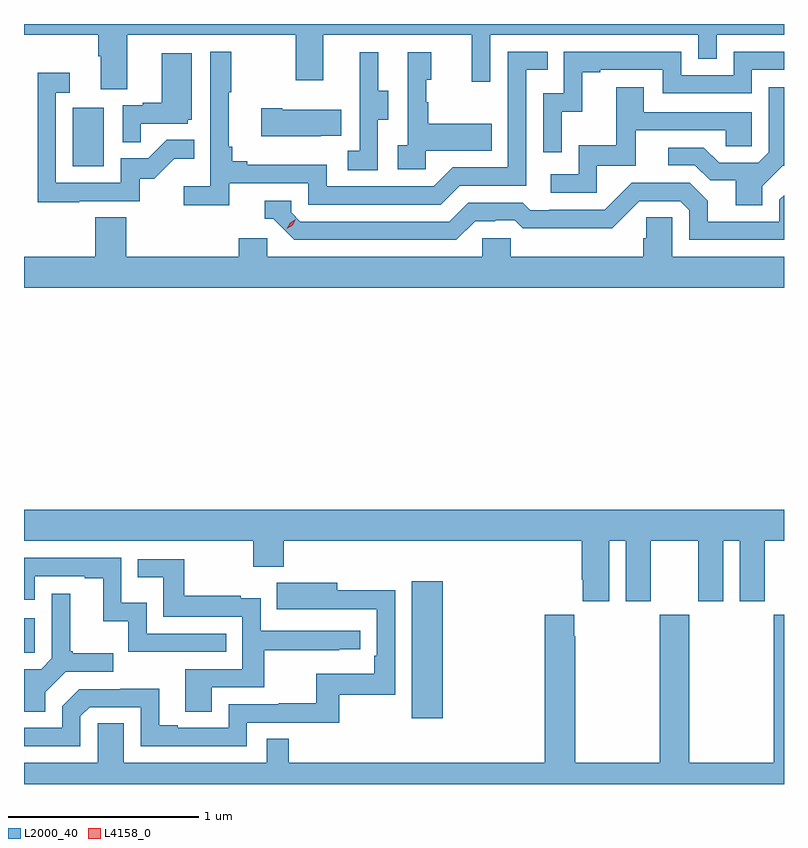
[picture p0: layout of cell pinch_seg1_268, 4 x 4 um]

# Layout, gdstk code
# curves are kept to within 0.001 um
import gdstk
lib = gdstk.Library(unit=1e-6, precision=1e-09)
def R(c, l, rs):  # rectangles x0, y0, x1, y1
    for r in rs: c.add(gdstk.rectangle(r[:2], r[2:], *l))
def P(c, l, *ps):  # polygons
    for p in ps: c.add(gdstk.Polygon(p, *l))
L2000_40 = (2000, 40)
L4158_0 = (4158, 0)

pinch_seg1_268 = lib.new_cell('pinch_seg1_268')
R(pinch_seg1_268, L2000_40, [(902.369,549.468,902.53,550.189), (900.327,549.813,900.384,549.993), (900.584,552.372,900.748,552.679)])
P(pinch_seg1_268, L2000_40, [(900.871,553.064),(901.756,553.064),(901.756,552.825),(901.903,552.825),(901.903,553.064),(902.684,553.064),(902.684,552.816),(902.781,552.816),(902.781,553.064),(903.876,553.064),(903.876,552.937),(903.972,552.937),(903.972,553.064),(904.327,553.064),(904.327,553.121),(900.327,553.121),(900.327,553.064),(900.719,553.064),(900.719,552.952),(900.731,552.952),(900.731,552.778),(900.871,552.778)],
  [(901.406,552.282),(901.824,552.282),(901.824,552.171),(902.521,552.171),(902.62,552.27),(902.97,552.27),(902.97,552.879),(903.083,552.879),(903.083,552.975),(902.874,552.975),(902.874,552.366),(902.583,552.366),(902.484,552.267),(901.92,552.267),(901.92,552.379),(901.501,552.379),(901.501,552.398),(901.424,552.398),(901.424,552.475),(901.405,552.475),(901.405,552.763),(901.417,552.763),(901.417,552.976),(901.308,552.976),(901.308,552.268),(901.167,552.268),(901.167,552.166),(901.406,552.166)],
  [(903.156,552.659),(903.266,552.659),(903.266,552.867),(903.361,552.867),(903.361,552.879),(903.69,552.879),(903.69,552.756),(904.158,552.756),(904.158,552.879),(904.327,552.879),(904.327,552.975),(904.062,552.975),(904.062,552.852),(903.786,552.852),(903.786,552.975),(903.168,552.975),(903.168,552.756),(903.06,552.756),(903.06,552.447),(903.156,552.447)],
  [(902.19,552.616),(902.245,552.616),(902.245,552.771),(902.191,552.771),(902.191,552.973),(902.093,552.973),(902.093,552.759),(902.094,552.759),(902.094,552.455),(902.031,552.455),(902.031,552.352),(902.19,552.352)],
  [(902.442,552.455),(902.789,552.455),(902.789,552.595),(902.455,552.595),(902.455,552.71),(902.445,552.71),(902.445,552.828),(902.47,552.828),(902.47,552.973),(902.346,552.973),(902.346,552.482),(902.295,552.482),(902.295,552.357),(902.442,552.357)],
  [(900.941,552.597),(901.188,552.597),(901.188,552.618),(901.21,552.618),(901.21,552.967),(901.052,552.967),(901.052,552.706),(900.953,552.706),(900.953,552.693),(900.846,552.693),(900.846,552.499),(900.941,552.499)],
  [(900.617,552.189),(900.936,552.189),(900.936,552.306),(901.012,552.306),(901.119,552.413),(901.223,552.413),(901.223,552.512),(901.079,552.512),(900.981,552.414),(900.837,552.414),(900.837,552.285),(900.495,552.285),(900.495,552.759),(900.568,552.759),(900.568,552.865),(900.399,552.865),(900.399,552.184),(900.617,552.184)],
  [(903.342,552.375),(903.547,552.375),(903.547,552.561),(904.021,552.561),(904.021,552.477),(904.158,552.477),(904.158,552.657),(903.589,552.657),(903.589,552.787),(903.445,552.787),(903.445,552.484),(903.246,552.484),(903.246,552.33),(903.099,552.33),(903.099,552.234),(903.342,552.234)],
  [(904.213,552.268),(904.32,552.375),(904.327,552.375),(904.327,552.787),(904.248,552.787),(904.248,552.447),(904.191,552.39),(903.985,552.39),(903.904,552.471),(903.717,552.471),(903.717,552.378),(903.858,552.378),(903.938,552.298),(904.073,552.298),(904.073,552.166),(904.213,552.166)],
  [(901.889,552.533),(901.997,552.533),(901.997,552.67),(901.687,552.67),(901.687,552.678),(901.575,552.678),(901.575,552.53),(901.889,552.53)],
  [(902.701,552.084),(902.808,552.084),(902.808,552.087),(902.911,552.087),(902.953,552.045),(903.186,552.045),(903.186,552.047),(903.422,552.047),(903.564,552.189),(903.78,552.189),(903.828,552.141),(903.828,551.985),(904.327,551.985),(904.327,552.22),(904.302,552.195),(904.302,552.081),(903.925,552.081),(903.925,552.191),(903.831,552.285),(903.525,552.285),(903.384,552.144),(903.091,552.144),(903.091,552.141),(902.992,552.141),(902.953,552.18),(902.664,552.18),(902.565,552.081),(901.782,552.081),(901.734,552.129),(901.734,552.192),(901.595,552.192),(901.595,552.096),(901.638,552.096),(901.749,551.985),(902.602,551.985)],
  [(904.327,551.896),(903.738,551.896),(903.738,552.104),(903.601,552.104),(903.601,551.994),(903.587,551.994),(903.587,551.896),(902.889,551.896),(902.889,551.994),(902.739,551.994),(902.739,551.896),(901.608,551.896),(901.608,551.994),(901.457,551.994),(901.457,551.896),(900.866,551.896),(900.866,552.104),(900.701,552.104),(900.701,551.896),(900.327,551.896),(900.327,551.732),(904.327,551.732)],
  [(903.406,550.4),(903.494,550.4),(903.494,550.083),(903.625,550.083),(903.625,550.4),(903.875,550.4),(903.875,550.083),(904.006,550.083),(904.006,550.4),(904.094,550.4),(904.094,550.083),(904.225,550.083),(904.225,550.4),(904.327,550.4),(904.327,550.564),(900.327,550.564),(900.327,550.4),(901.534,550.4),(901.534,550.265),(901.694,550.265),(901.694,550.4),(903.263,550.4),(903.263,550.195),(903.269,550.195),(903.269,550.083),(903.406,550.083)],
  [(901.391,549.912),(900.972,549.912),(900.972,550.075),(900.84,550.075),(900.84,550.311),(900.327,550.311),(900.327,550.092),(900.384,550.092),(900.384,550.215),(900.647,550.215),(900.647,550.203),(900.743,550.203),(900.743,549.977),(900.876,549.977),(900.876,549.816),(901.391,549.816)],
  [(901.315,549.63),(901.592,549.63),(901.592,549.826),(901.985,549.826),(901.985,549.831),(902.098,549.831),(902.098,549.927),(901.572,549.927),(901.572,550.099),(901.469,550.099),(901.469,550.111),(901.171,550.111),(901.171,550.305),(900.925,550.305),(900.925,550.208),(901.06,550.208),(901.06,550.002),(901.476,550.002),(901.476,549.726),(901.175,549.726),(901.175,549.502),(901.315,549.502)],
  [(900.624,549.477),(900.672,549.525),(900.942,549.525),(900.942,549.321),(901.5,549.321),(901.5,549.444),(901.987,549.444),(901.987,549.591),(902.28,549.591),(902.28,550.142),(901.975,550.142),(901.975,550.18),(901.657,550.18),(901.657,550.04),(902.184,550.041),(902.184,549.796),(902.171,549.796),(902.171,549.7),(901.866,549.7),(901.866,549.545),(901.669,549.545),(901.669,549.54),(901.404,549.54),(901.404,549.417),(901.135,549.417),(901.135,549.43),(901.039,549.43),(901.039,549.623),(900.834,549.623),(900.834,549.621),(900.618,549.621),(900.528,549.531),(900.528,549.417),(900.327,549.417),(900.327,549.321),(900.624,549.321)],
  [(900.439,549.604),(900.546,549.711),(900.796,549.711),(900.796,549.808),(900.583,549.808),(900.583,549.82),(900.571,549.82),(900.571,550.123),(900.474,550.123),(900.474,549.783),(900.417,549.726),(900.327,549.726),(900.327,549.502),(900.439,549.502)],
  [(900.714,549.44),(900.714,549.232),(900.327,549.232),(900.327,549.121),(904.327,549.121),(904.327,550.012),(904.273,550.012),(904.273,549.232),(903.828,549.232),(903.828,550.012),(903.673,550.012),(903.673,549.232),(903.228,549.232),(903.228,549.899),(903.223,549.899),(903.223,550.012),(903.068,550.012),(903.068,549.232),(901.721,549.232),(901.721,549.359),(901.605,549.359),(901.605,549.232),(900.853,549.232),(900.853,549.44)])
P(pinch_seg1_268, L4158_0, [(901.71,552.044),(901.71,552.044),(901.727,552.076),(901.758,552.094),(901.758,552.094),(901.758,552.094),(901.741,552.062),(901.71,552.044)])

lib.write_gds('pinch_seg1_268.gds')
